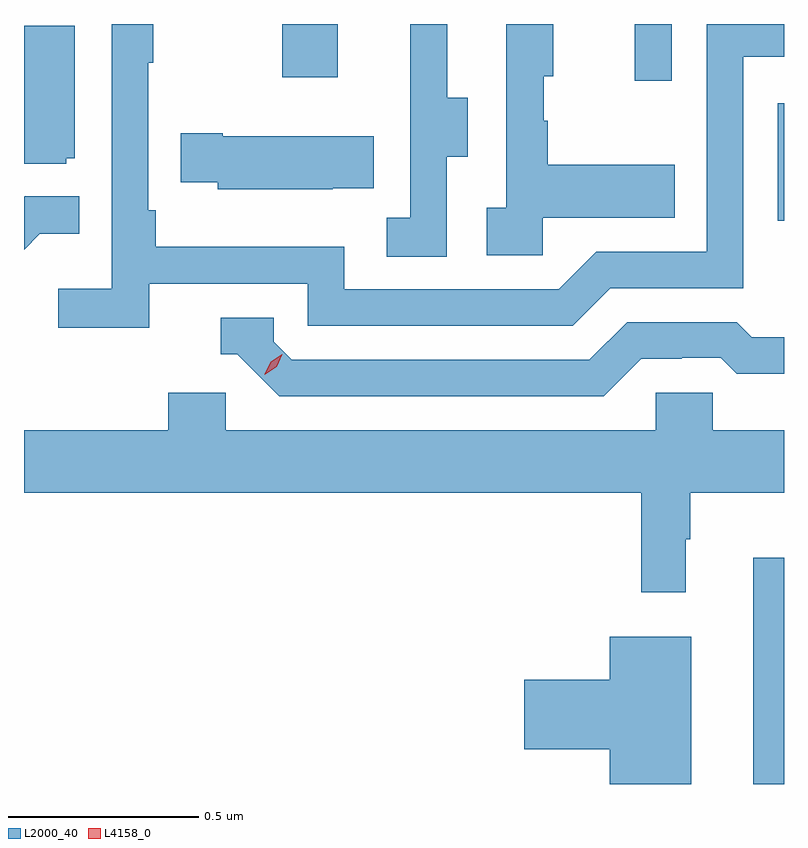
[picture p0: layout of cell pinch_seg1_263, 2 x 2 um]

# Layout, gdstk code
import gdstk
lib = gdstk.Library(unit=1e-6, precision=1e-09)
def R(c, l, rs):  # rectangles x0, y0, x1, y1
    for r in rs: c.add(gdstk.rectangle(r[:2], r[2:], *l))
def P(c, l, *ps):  # polygons
    for p in ps: c.add(gdstk.Polygon(p, *l))
L2000_40 = (2000, 40)
L4158_0 = (4158, 0)

pinch_seg1_263 = lib.new_cell('pinch_seg1_263')
R(pinch_seg1_263, L2000_40, [(942.068,577.605,942.149,578.2), (942.132,579.087,942.149,579.396), (941.756,579.456,941.853,579.605), (940.828,579.465,940.975,579.605)])
P(pinch_seg1_263, L2000_40, [(940.478,578.922),(940.896,578.922),(940.896,578.811),(941.593,578.811),(941.692,578.91),(942.042,578.91),(942.042,579.519),(942.149,579.519),(942.149,579.605),(941.946,579.605),(941.946,579.006),(941.655,579.006),(941.556,578.907),(940.992,578.907),(940.992,579.019),(940.496,579.019),(940.496,579.115),(940.476,579.115),(940.476,579.503),(940.489,579.503),(940.489,579.605),(940.38,579.605),(940.38,578.908),(940.239,578.908),(940.239,578.806),(940.478,578.806)],
  [(941.514,579.095),(941.861,579.095),(941.861,579.235),(941.527,579.235),(941.527,579.35),(941.517,579.35),(941.517,579.468),(941.542,579.468),(941.542,579.605),(941.418,579.605),(941.418,579.122),(941.367,579.122),(941.367,578.997),(941.514,578.997)],
  [(941.262,579.256),(941.317,579.256),(941.317,579.411),(941.263,579.411),(941.263,579.605),(941.165,579.605),(941.165,579.399),(941.166,579.399),(941.166,579.095),(941.103,579.095),(941.103,578.992),(941.262,578.992)],
  [(940.26,579.252),(940.282,579.252),(940.282,579.601),(940.149,579.601),(940.149,579.237),(940.26,579.237)],
  [(940.961,579.173),(941.069,579.173),(941.069,579.31),(940.672,579.31),(940.672,579.318),(940.561,579.318),(940.561,579.188),(940.659,579.188),(940.659,579.17),(940.961,579.17)],
  [(940.191,579.053),(940.295,579.053),(940.295,579.152),(940.151,579.152),(940.149,579.15),(940.149,579.011)],
  [(941.773,578.724),(941.88,578.724),(941.88,578.727),(941.983,578.727),(942.025,578.685),(942.149,578.685),(942.149,578.781),(942.064,578.781),(942.025,578.82),(941.736,578.82),(941.637,578.721),(940.854,578.721),(940.806,578.769),(940.806,578.832),(940.667,578.832),(940.667,578.736),(940.71,578.736),(940.821,578.625),(941.674,578.625)],
  [(941.89,578.249),(941.902,578.249),(941.902,578.372),(942.149,578.372),(942.149,578.536),(941.961,578.536),(941.961,578.634),(941.811,578.634),(941.811,578.536),(940.68,578.536),(940.68,578.634),(940.529,578.634),(940.529,578.536),(940.149,578.536),(940.149,578.372),(941.773,578.372),(941.773,578.109),(941.89,578.109)],
  [(941.905,577.993),(941.69,577.993),(941.69,577.88),(941.466,577.88),(941.466,577.697),(941.69,577.697),(941.69,577.605),(941.905,577.605)])
P(pinch_seg1_263, L4158_0, [(940.783,578.682),(940.783,578.683),(940.798,578.716),(940.829,578.736),(940.829,578.736),(940.829,578.736),(940.814,578.703),(940.783,578.682)])

lib.write_gds('pinch_seg1_263.gds')
